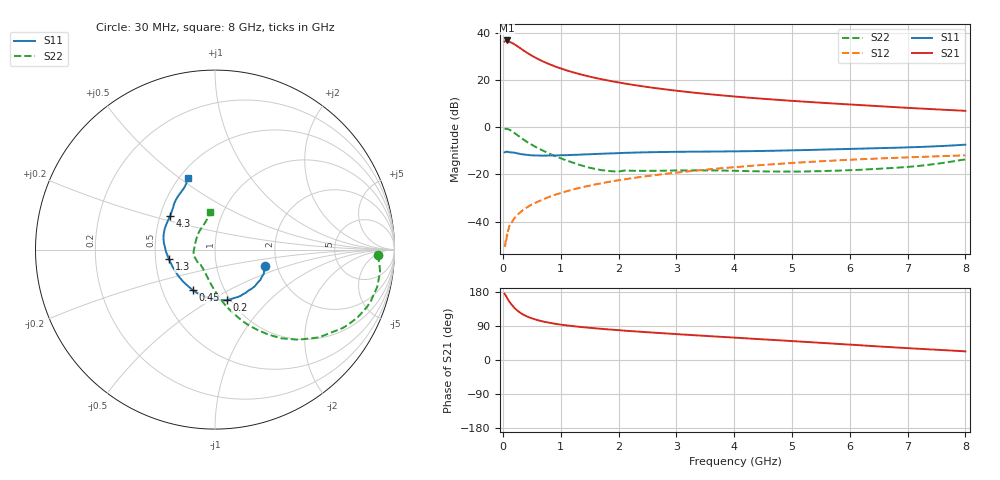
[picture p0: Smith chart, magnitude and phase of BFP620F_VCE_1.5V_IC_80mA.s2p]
! Infineon Technologies  Discrete & RF Semiconductors
! BFP620F
! VCE =  1.5 V,  IC =  80 mA
! Common Emitter S-Parameters:  Dec 2014
# GHz  S  MA  R  50
!  f  S11  S21  S12  S22
! GHz  MAG  ANG  MAG  ANG  MAG  ANG  MAG  ANG
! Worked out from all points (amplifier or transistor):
!   95 points, 30 MHz to 8 GHz, reference 50 ohm
!   highest |S21| = 36.9 dB at 70 MHz (marker M1)
!   |S21| within 3 dB of that: start of sweep to 284 MHz
!   unconditionally stable (mu >= 1): 1.507 GHz to end of sweep
!   at 300 MHz: K = 0.59, MSG = 34.8 dB, |S12| = -36.1 dB
!   at 3.3 GHz: K = 1.04, MAG = 15.4 dB, |S12| = -18.5 dB
!   at 8 GHz: K = 1.06, MAG = 8.0 dB, |S12| = -11.9 dB
!   S11 on the Smith chart (normalised r, x): 30 MHz: 1.74, -0.34; 200 MHz: 0.96, -0.59; 450 MHz: 0.71, -0.35; 1.3 GHz: 0.59, -0.07; 4.3 GHz: 0.56, +0.23; 8 GHz: 0.55, +0.54
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0.03  0.2947 -17.6  66.22 174.9  0.0032 114.3  0.9062 -1.9
0.05  0.3034 -26.2  68.86 169.9  0.0042 84.4  0.9279 -7.7
0.07  0.3039 -33.7  69.79 164.5  0.0053 95.3  0.9274 -12.9
0.09  0.3015 -42.4  68.29 159.2  0.0065 85.0  0.9144 -18.2
0.14  0.2943 -61.1  63.18 148.3  0.0094 78.3  0.8497 -29.6
0.2  0.2898 -77.2  57.73 137.5  0.0118 72.6  0.758 -40.2
0.25  0.2799 -87.9  52.78 130.4  0.0138 73.7  0.6833 -47.3
0.3  0.2718 -97.1  47.89 124.7  0.0157 72.1  0.6162 -53.3
0.35  0.2663 -105.6  43.31 120.0  0.0177 71.5  0.5576 -58.0
0.45  0.258 -118.3  36.19 112.8  0.0211 71.7  0.4652 -65.7
0.6  0.2519 -133.8  28.5 105.2  0.0262 71.2  0.3643 -74.5
0.7  0.2508 -141.2  24.85 101.4  0.0297 70.9  0.3172 -79.3
1  0.2552 -157.5  17.78 93.4  0.0403 70.9  0.2206 -91.6
1.3  0.2616 -168.6  13.76 87.9  0.0509 70.4  0.163 -104.2
1.4  0.2658 -171.3  12.79 86.4  0.0543 70.1  0.1503 -108.6
1.9  0.28 176.8  9.435 79.9  0.0718 67.8  0.1163 -133.0
2.7  0.2984 163.4  6.65 71.3  0.0991 63.0  0.1196 -155.8
4.1  0.3102 145.7  4.412 58.2  0.1457 53.8  0.1186 -175.7
4.3  0.3122 143.6  4.215 56.3  0.1525 52.4  0.1172 -179.4
5.4  0.3332 134.2  3.39 46.2  0.1873 44.3  0.117 157.3
6.7  0.3662 122.8  2.721 34.0  0.2228 34.1  0.1364 128.0
8  0.4282 110.8  2.24 22.8  0.254 24.5  0.2086 97.1
